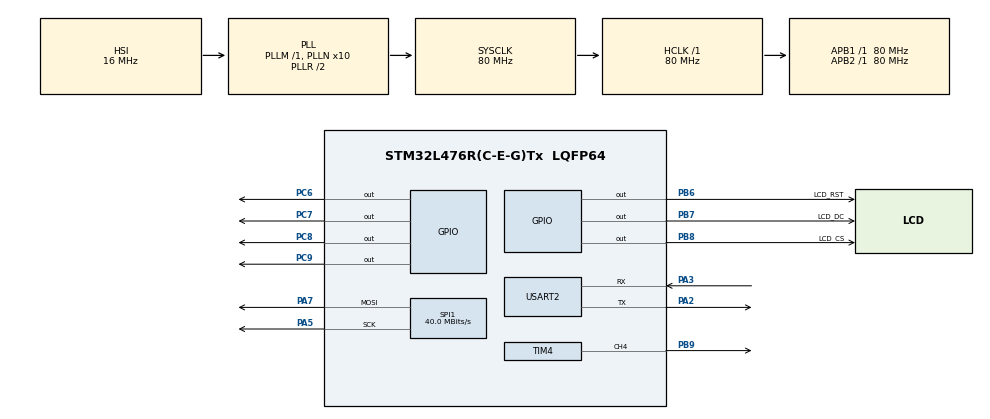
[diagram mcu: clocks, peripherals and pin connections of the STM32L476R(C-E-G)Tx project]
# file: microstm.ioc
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Mcu.Family=STM32L4
Mcu.Name=STM32L476R(C-E-G)Tx
Mcu.Package=LQFP64
NVIC.PriorityGroup=NVIC_PRIORITYGROUP_4
NVIC.USART2_IRQn=true\:0\:0\:false\:false\:true\:true\:true\:true
PA2.Mode=Asynchronous
PA2.Signal=USART2_TX
PA3.Mode=Asynchronous
PA3.Signal=USART2_RX
PA5.Mode=TX_Only_Simplex_Unidirect_Master
PA5.Signal=SPI1_SCK
PA7.Mode=TX_Only_Simplex_Unidirect_Master
PA7.Signal=SPI1_MOSI
PB6.GPIO_Label=LCD_RST
PB6.Signal=GPIO_Output
PB7.GPIO_Label=LCD_DC
PB7.Signal=GPIO_Output
PB8.GPIO_Label=LCD_CS
PB8.Signal=GPIO_Output
PB9.Signal=S_TIM4_CH4
PC6.Signal=GPIO_Output
PC7.Signal=GPIO_Output
PC8.Signal=GPIO_Output
PC9.Signal=GPIO_Output
ProjectManager.HeapSize=0x200
ProjectManager.StackSize=0x400
ProjectManager.TargetToolchain=STM32CubeIDE
RCC.ADCFreq_Value=64000000
RCC.AHBFreq_Value=80000000
RCC.APB1Freq_Value=80000000
RCC.APB1TimFreq_Value=80000000
RCC.APB2Freq_Value=80000000
RCC.APB2TimFreq_Value=80000000
RCC.CortexFreq_Value=80000000
RCC.HCLKFreq_Value=80000000
RCC.HSE_VALUE=8000000
RCC.HSI_VALUE=16000000
RCC.LSE_VALUE=32768
RCC.MSI_VALUE=4000000
RCC.PLLN=10
RCC.PLLSourceVirtual=RCC_PLLSOURCE_HSI
RCC.SYSCLKFreq_VALUE=80000000
RCC.SYSCLKSource=RCC_SYSCLKSOURCE_PLLCLK
RCC.USBFreq_Value=64000000
RCC.VCOOutputFreq_Value=160000000
SH.S_TIM4_CH4.0=TIM4_CH4,PWM Generation4 CH4
SPI1.CalculateBaudRate=40.0 MBits/s
SPI1.Direction=SPI_DIRECTION_2LINES
SPI1.Mode=SPI_MODE_MASTER
SPI1.VirtualType=VM_MASTER
TIM4.Channel-PWM\ Generation4\ CH4=TIM_CHANNEL_4
USART2.VirtualMode-Asynchronous=VM_ASYNC
board=custom

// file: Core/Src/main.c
/* USER CODE BEGIN Header */
/**
  ******************************************************************************
  * @file           : main.c
  * @brief          : Main program body
  ******************************************************************************
  * @attention
  *
  * Copyright (c) 2025 STMicroelectronics.
  * All rights reserved.
  *
  * This software is licensed under terms that can be found in the LICENSE file
  * in the root directory of this software component.
  * If no LICENSE file comes with this software, it is provided AS-IS.
  *
  ******************************************************************************
  */
/* USER CODE END Header */
//#include "main.h"

/* USER CODE BEGIN Includes */
#include "st7735.h"
#include "gfx_text.h"
#include "u8text.h"
#include "u8font_unscii16.h"
#include "u8font_unscii8.h"
#include "string.h"
#include "stdio.h"
#include "math.h"
#include "stdlib.h"
#include "main.h"
#include "filesystem.h"

/* USER CODE END Includes */

/* USER CODE BEGIN PD */
#define COLOR_RGB565(r,g,b) ( ((r&0x1F)<<11) | ((g&0x3F)<<5) | ((b&0x1F)) )
#define COLOR_BLACK 0x0000
#define COLOR_WHITE 0xFFFF
#define COLOR_RED   0xF800
#define COLOR_GREEN 0x07E0
#define COLOR_BLUE  0x001F
#define TEXT_BG_TRANSPARENT 0xFFFF
#define WHITE 0xFFFF

#define LCD_LINE_HEIGHT 9  // 7 (font height) + 2 (offset)
#define LCD_TEXT_OFFSET 2 // 2 pixel offset between lines
#define LCD_TOP_OFFSET 10 // 10 pixel offset from the top
#define LCD_MAX_LINES 12 // Assuming 5x7 font and 160 height, ~160/7 = 22 lines. Let's use 12 for now.
/* USER CODE END PD */

SPI_HandleTypeDef hspi1;

TIM_HandleTypeDef htim4;

UART_HandleTypeDef huart2;

/* USER CODE BEGIN PV */
	extern uint16_t inPointer;
	extern char inBuffer[2048];
	extern bool dataRxd;
	extern bool tabCompletion;
    extern bool char_received;

    char prompt_buffer[MAX_PATH_SIZE + 3]; // Global prompt buffer
/* USER CODE END PV */

void SystemClock_Config(void);
static void MX_GPIO_Init(void);
static void MX_USART2_UART_Init(void);
static void MX_SPI1_Init(void);
static void MX_TIM4_Init(void);
void LCD_Print(const char* text, uint16_t color);
void LCD_Print_NoInc(const char* text, uint16_t color);
void handle_serial_and_display(char* command, char* args, char* outBuffer, size_t outBufferSize);

int main(void)
{

  /* USER CODE BEGIN 1 */
    char* command = NULL;
    char* args = NULL;
    char outBuffer[2048];
  /* USER CODE END 1 */

  /* MCU Configuration--------------------------------------------------------*/

  /* Reset of all peripherals, Initializes the Flash interface and the Systick. */
  HAL_Init();

  /* Configure the system clock */
  SystemClock_Config();

  /* Initialize all configured peripherals */
  MX_GPIO_Init();
  MX_USART2_UART_Init();
  MX_SPI1_Init();
  MX_TIM4_Init();
  /* USER CODE BEGIN 2 */
  ST7735_Init(ST7735_SPI);
  ST7735_SetInversion(false);

  ST7735_SetRotation(ST7735_ROTATION_90);
  ST7735_FillScreen(COLOR_BLACK);
  HAL_TIM_PWM_Start(&htim4, TIM_CHANNEL_4);

  MX_USART2_UART_Init();
  /* USER CODE BEGIN 2 */
    filesystem_init();
	const char initMsg[] = "MicroSTM-OS initialized\r\n";
	HAL_UART_Transmit(&huart2, (uint8_t *)initMsg, (uint16_t)strlen(initMsg), 1000);

    print_prompt(); // Initial prompt

  	  USART2->CR1 |= USART_CR1_RXNEIE;
  /* USER CODE END 2 */

  /* Infinite loop */
  /* USER CODE BEGIN WHILE */
    while (1)
    {
        handle_serial_and_display(command, args, outBuffer, sizeof(outBuffer));
        if (char_received) {
            char_received = false;
            // Update the LCD with the current input buffer
            char display_buffer[MAX_PATH_SIZE + 3 + 2048];
            snprintf(display_buffer, sizeof(display_buffer), "%s%s", prompt_buffer, inBuffer);
            LCD_Print_NoInc(display_buffer, COLOR_WHITE);
        }
    /* USER CODE END WHILE */

  }
}

void SystemClock_Config(void)
{
  RCC_OscInitTypeDef RCC_OscInitStruct = {0};
  RCC_ClkInitTypeDef RCC_ClkInitStruct = {0};

  /** Configure the main internal regulator output voltage
  */
  if (HAL_PWREx_ControlVoltageScaling(PWR_REGULATOR_VOLTAGE_SCALE1) != HAL_OK)
  {
    Error_Handler();
  }

  /** Initializes the RCC Oscillators according to the specified parameters
  * in the RCC_OscInitTypeDef structure.
  */
  RCC_OscInitStruct.OscillatorType = RCC_OSCILLATORTYPE_HSI;
  RCC_OscInitStruct.HSIState = RCC_HSI_ON;
  RCC_OscInitStruct.HSICalibrationValue = RCC_HSICALIBRATION_DEFAULT;
  RCC_OscInitStruct.PLL.PLLState = RCC_PLL_ON;
  RCC_OscInitStruct.PLL.PLLSource = RCC_PLLSOURCE_HSI;
  RCC_OscInitStruct.PLL.PLLM = 1;
  RCC_OscInitStruct.PLL.PLLN = 10;
  RCC_OscInitStruct.PLL.PLLP = RCC_PLLP_DIV7;
  RCC_OscInitStruct.PLL.PLLQ = RCC_PLLQ_DIV2;
  RCC_OscInitStruct.PLL.PLLR = RCC_PLLR_DIV2;
  if (HAL_RCC_OscConfig(&RCC_OscInitStruct) != HAL_OK)
  {
    Error_Handler();
  }

  /** Initializes the CPU, AHB and APB buses clocks
  */
  RCC_ClkInitStruct.ClockType = RCC_CLOCKTYPE_HCLK|RCC_CLOCKTYPE_SYSCLK
                              |RCC_CLOCKTYPE_PCLK1|RCC_CLOCKTYPE_PCLK2;
  RCC_ClkInitStruct.SYSCLKSource = RCC_SYSCLKSOURCE_PLLCLK;
  RCC_ClkInitStruct.AHBCLKDivider = RCC_SYSCLK_DIV1;
  RCC_ClkInitStruct.APB1CLKDivider = RCC_HCLK_DIV1;
  RCC_ClkInitStruct.APB2CLKDivider = RCC_HCLK_DIV1;

  if (HAL_RCC_ClockConfig(&RCC_ClkInitStruct, FLASH_LATENCY_4) != HAL_OK)
  {
    Error_Handler();
  }
}

static void MX_SPI1_Init(void)
{

  /* SPI1 parameter configuration*/
  hspi1.Instance = SPI1;
  hspi1.Init.Mode = SPI_MODE_MASTER;
  hspi1.Init.Direction = SPI_DIRECTION_2LINES;
  hspi1.Init.DataSize = SPI_DATASIZE_4BIT;
  hspi1.Init.CLKPolarity = SPI_POLARITY_LOW;
  hspi1.Init.CLKPhase = SPI_PHASE_1EDGE;
  hspi1.Init.NSS = SPI_NSS_SOFT;
  hspi1.Init.BaudRatePrescaler = SPI_BAUDRATEPRESCALER_2;
  hspi1.Init.FirstBit = SPI_FIRSTBIT_MSB;
  hspi1.Init.TIMode = SPI_TIMODE_DISABLE;
  hspi1.Init.CRCCalculation = SPI_CRCCALCULATION_DISABLE;
  hspi1.Init.CRCPolynomial = 7;
  hspi1.Init.CRCLength = SPI_CRC_LENGTH_DATASIZE;
  hspi1.Init.NSSPMode = SPI_NSS_PULSE_ENABLE;
  if (HAL_SPI_Init(&hspi1) != HAL_OK)
  {
    Error_Handler();
  }

}

static void MX_TIM4_Init(void)
{

  TIM_MasterConfigTypeDef sMasterConfig = {0};
  TIM_OC_InitTypeDef sConfigOC = {0};

  htim4.Instance = TIM4;
  htim4.Init.Prescaler = 0;
  htim4.Init.CounterMode = TIM_COUNTERMODE_UP;
  htim4.Init.Period = 65535;
  htim4.Init.ClockDivision = TIM_CLOCKDIVISION_DIV1;
  htim4.Init.AutoReloadPreload = TIM_AUTORELOAD_PRELOAD_DISABLE;
  if (HAL_TIM_PWM_Init(&htim4) != HAL_OK)
  {
    Error_Handler();
  }
  sMasterConfig.MasterOutputTrigger = TIM_TRGO_RESET;
  sMasterConfig.MasterSlaveMode = TIM_MASTERSLAVEMODE_DISABLE;
  if (HAL_TIMEx_MasterConfigSynchronization(&htim4, &sMasterConfig) != HAL_OK)
  {
    Error_Handler();
  }
  sConfigOC.OCMode = TIM_OCMODE_PWM1;
  sConfigOC.Pulse = 0;
  sConfigOC.OCPolarity = TIM_OCPOLARITY_HIGH;
  sConfigOC.OCFastMode = TIM_OCFAST_DISABLE;
  if (HAL_TIM_PWM_ConfigChannel(&htim4, &sConfigOC, TIM_CHANNEL_4) != HAL_OK)
  {
    Error_Handler();
  }
  HAL_TIM_MspPostInit(&htim4);

}

static void MX_USART2_UART_Init(void)
{

  huart2.Instance = USART2;
  huart2.Init.BaudRate = 115200;
  huart2.Init.WordLength = UART_WORDLENGTH_8B;
  huart2.Init.StopBits = UART_STOPBITS_1;
  huart2.Init.Parity = UART_PARITY_NONE;
  huart2.Init.Mode = UART_MODE_TX_RX;
  huart2.Init.HwFlowCtl = UART_HWCONTROL_NONE;
  huart2.Init.OverSampling = UART_OVERSAMPLING_16;
  huart2.Init.OneBitSampling = UART_ONE_BIT_SAMPLE_DISABLE;
  huart2.AdvancedInit.AdvFeatureInit = UART_ADVFEATURE_NO_INIT;
  if (HAL_UART_Init(&huart2) != HAL_OK)
  {
    Error_Handler();
  }

}

static void MX_GPIO_Init(void)
{
  GPIO_InitTypeDef GPIO_InitStruct = {0};

  /* GPIO Ports Clock Enable */
  __HAL_RCC_GPIOA_CLK_ENABLE();
  __HAL_RCC_GPIOC_CLK_ENABLE();
  __HAL_RCC_GPIOB_CLK_ENABLE();

  /*Configure GPIO pin Output Level */
  HAL_GPIO_WritePin(GPIOC, GPIO_PIN_6|GPIO_PIN_7|GPIO_PIN_8|GPIO_PIN_9, GPIO_PIN_RESET);

  /*Configure GPIO pin Output Level */
  HAL_GPIO_WritePin(GPIOB, LCD_RST_Pin|LCD_DC_Pin|LCD_CS_Pin, GPIO_PIN_RESET);

  /*Configure GPIO pins : PC6 PC7 PC8 PC9 */
  GPIO_InitStruct.Pin = GPIO_PIN_6|GPIO_PIN_7|GPIO_PIN_8|GPIO_PIN_9;
  GPIO_InitStruct.Mode = GPIO_MODE_OUTPUT_PP;
  GPIO_InitStruct.Pull = GPIO_NOPULL;
  GPIO_InitStruct.Speed = GPIO_SPEED_FREQ_LOW;
  HAL_GPIO_Init(GPIOC, &GPIO_InitStruct);

  /*Configure GPIO pins : LCD_RST_Pin LCD_DC_Pin LCD_CS_Pin */
  GPIO_InitStruct.Pin = LCD_RST_Pin|LCD_DC_Pin|LCD_CS_Pin;
  GPIO_InitStruct.Mode = GPIO_MODE_OUTPUT_PP;
  GPIO_InitStruct.Pull = GPIO_NOPULL;
  GPIO_InitStruct.Speed = GPIO_SPEED_FREQ_LOW;
  HAL_GPIO_Init(GPIOB, &GPIO_InitStruct);

}

/* USER CODE BEGIN 4 */
// Global variable to keep track of the current line on the LCD
static uint8_t lcd_current_line = 0;

void LCD_Print_NoInc(const char* text, uint16_t color) {
    // Clear the current line before drawing new text
    ST7735_FillRect(0, LCD_TOP_OFFSET + lcd_current_line * LCD_LINE_HEIGHT, ST7735_Width(), LCD_LINE_HEIGHT, COLOR_BLACK);
    GFX_DrawString(4, LCD_TOP_OFFSET + lcd_current_line * LCD_LINE_HEIGHT, (char*)text, color, COLOR_BLACK, 1, &Font5x7);
}

void LCD_Print(const char* text, uint16_t color) {
    LCD_Print_NoInc(text, color);
    lcd_current_line++;
    if (lcd_current_line >= LCD_MAX_LINES) {
        lcd_current_line = 0; // Wrap around or scroll up
        // For simplicity, just wrap around. A more advanced implementation would scroll.
        ST7735_FillRect(0, LCD_TOP_OFFSET, ST7735_Width(), ST7735_Height() - LCD_TOP_OFFSET, COLOR_BLACK); // Clear relevant part of screen on wrap around for now
    }
}

void print_prompt(void) {
    fs_get_cwd_path(prompt_buffer, MAX_PATH_SIZE);
    strcat(prompt_buffer, "> ");
    HAL_UART_Transmit(&huart2, (uint8_t*)prompt_buffer, (uint16_t)strlen(prompt_buffer), 1000);
    // Also display prompt on LCD
    LCD_Print_NoInc(prompt_buffer, COLOR_WHITE);
}

void unified_output(const char* text, uint16_t color) {
    HAL_UART_Transmit(&huart2, (uint8_t*)text, (uint16_t)strlen(text), 1000);

    // Now for the LCD, we need to handle multi-line text
    char line_buffer[128]; // Assuming max line length for LCD is less than 128
    const char* p_start = text;
    const char* p_end;

    while((p_end = strpbrk(p_start, "\r\n")) != NULL) {
        size_t len = p_end - p_start;
        if (len > 0) {
            if (len >= sizeof(line_buffer)) {
                len = sizeof(line_buffer) - 1;
            }
            strncpy(line_buffer, p_start, len);
            line_buffer[len] = '\0';
            LCD_Print(line_buffer, color);
        }

        if (*p_end == '\r' && *(p_end + 1) == '\n') {
            p_start = p_end + 2;
        } else {
            p_start = p_end + 1;
        }
    }

    // Print the rest of the string if it doesn't end with a newline
    if (*p_start != '\0') {
        strncpy(line_buffer, p_start, sizeof(line_buffer) - 1);
        line_buffer[sizeof(line_buffer) - 1] = '\0';
        LCD_Print(line_buffer, color);
    }
}
void handle_serial_and_display(char* command, char* args, char* outBuffer, size_t outBufferSize) {
    if (dataRxd == true){
        dataRxd = false;

        // Finalize the command line on the LCD before execution
        char full_command_line[MAX_PATH_SIZE + 3 + 2048];
        snprintf(full_command_line, sizeof(full_command_line), "%s%s", prompt_buffer, inBuffer);
        LCD_Print(full_command_line, COLOR_WHITE);

        parse_command(inBuffer, &command, &args);

        if (command != NULL && strlen(command) > 0) {
            // Debug print to serial
            snprintf(outBuffer, outBufferSize, "Command: '%s', Args: '%s'\r\n", command, args ? args : "");
			unified_output(outBuffer, COLOR_WHITE);

            if (strcmp(command, "BLUE") == 0) {
                if (args != NULL && strcmp(args, "ON") == 0) {
                    GPIOC->ODR |= (1 << 6);
                    unified_output("BLUE ON\r\n", COLOR_GREEN);
                } else if (args != NULL && strcmp(args, "OFF") == 0) {
                    GPIOC->ODR &= ~(1 << 6);
                    unified_output("BLUE OFF\r\n", COLOR_RED);
                }
            } else if (strcmp(command, "RED") == 0) {
                if (args != NULL && strcmp(args, "ON") == 0) {
                    GPIOC->ODR |= (1 << 7);
                    unified_output("RED ON\r\n", COLOR_GREEN);
                } else if (args != NULL && strcmp(args, "OFF") == 0) {
                    GPIOC->ODR &= ~(1 << 7);
                    unified_output("RED OFF\r\n", COLOR_RED);
                }
            } else if (strcmp(command, "GREEN") == 0) {
                if (args != NULL && strcmp(args, "ON") == 0) {
                    GPIOC->ODR |= (1 << 8);
                    unified_output("GREEN ON\r\n", COLOR_GREEN);
                } else if (args != NULL && strcmp(args, "OFF") == 0) {
                    GPIOC->ODR &= ~(1 << 8);
                    unified_output("GREEN OFF\r\n", COLOR_RED);
                }
            } else if (strcmp(command, "WHITE") == 0) {
                if (args != NULL && strcmp(args, "ON") == 0) {
                    GPIOC->ODR |= (1 << 9);
                    unified_output("WHITE ON\r\n", COLOR_GREEN);
                } else if (args != NULL && strcmp(args, "OFF") == 0) {
                    GPIOC->ODR &= ~(1 << 9);
                    unified_output("WHITE OFF\r\n", COLOR_RED);
                }
            } else if (strcmp(command, "help") == 0) {
                const char helpMsg[] =
                    "Available commands:\r\n"
                    "  help                - Show this message\r\n"
                    "  echo                - Print back the arguments\r\n"
                    "  ls, pwd, cd         - File navigation\r\n"
                    "  mkdir, rmdir        - Create/remove directories\r\n"
                    "  rm, cp, mv          - Manage files\r\n"
                    "  touch, find         - Create/search files\r\n"
                    "  cat, head, tail     - View file contents\r\n"
                    "  BLUE ON / BLUE OFF  - Control onboard BLUE LED\r\n"
                    "  RED ON / RED OFF    - Control onboard RED LED\r\n"
                    "  GREEN ON / GREEN OFF- Control onboard GREEN LED\r\n"
                    "  WHITE ON / WHITE OFF- Control onboard WHITE LED\r\n"
                    "  exit                - Close the connection\r\n";
                unified_output(helpMsg, COLOR_WHITE);
            } else if (strcmp(command, "echo") == 0) {
                if (args != NULL) {
                    snprintf(outBuffer, outBufferSize, "%s\r\n", args);
                    unified_output(outBuffer, COLOR_WHITE);
                }
            } else if (strcmp(command, "pwd") == 0) {
                fs_pwd(outBuffer, outBufferSize);
                unified_output(outBuffer, COLOR_WHITE);
            } else if (strcmp(command, "ls") == 0) {
                fs_ls(outBuffer, outBufferSize);
                unified_output(outBuffer, COLOR_WHITE);
            } else if (strcmp(command, "mkdir") == 0) {
                if (fs_mkdir(args) != 0) {
                    const char errMsg[] = "mkdir failed\r\n";
                    unified_output(errMsg, COLOR_RED);
                } else {
                    snprintf(outBuffer, outBufferSize, "mkdir %s success\r\n", args);
                    unified_output(outBuffer, COLOR_GREEN);
                }
            } else if (strcmp(command, "cd") == 0) {
                if (fs_cd(args) != 0) {
                    const char errMsg[] = "cd failed\r\n";
                    unified_output(errMsg, COLOR_RED);
                } else {
                    snprintf(outBuffer, outBufferSize, "cd %s success\r\n", args);
                    unified_output(outBuffer, COLOR_GREEN);
                }
            } else if (strcmp(command, "rmdir") == 0) {
                if (fs_rmdir(args) != 0) {
                    const char errMsg[] = "rmdir failed\r\n";
                    unified_output(errMsg, COLOR_RED);
                } else {
                    snprintf(outBuffer, outBufferSize, "rmdir %s success\r\n", args);
                    unified_output(outBuffer, COLOR_GREEN);
                }
            } else if (strcmp(command, "clear") == 0) {
                const char clearScreen[] = "\033[2J\033[H";
                HAL_UART_Transmit(&huart2, (uint8_t*)clearScreen, strlen(clearScreen), 1000);
                ST7735_FillScreen(COLOR_BLACK);
                lcd_current_line = 0;
                unified_output("LCD Cleared\r\n", COLOR_WHITE);
            } else if (strcmp(command, "touch") == 0) {
                if (fs_touch(args) != 0) {
                    const char errMsg[] = "touch failed\r\n";
                    unified_output(errMsg, COLOR_RED);
                } else {
                    snprintf(outBuffer, outBufferSize, "touch %s success\r\n", args);
                    unified_output(outBuffer, COLOR_GREEN);
                }
            } else if (strcmp(command, "cat") == 0) {
                if (fs_cat(args) != 0) {
                    const char errMsg[] = "cat failed\r\n";
                    unified_output(errMsg, COLOR_RED);
                } else {
                    snprintf(outBuffer, outBufferSize, "cat %s executed. Output on serial.\r\n", args);
                    unified_output(outBuffer, COLOR_WHITE);
                }
            } else if (strcmp(command, "rm") == 0) {
                if (fs_rm(args) != 0) {
                    const char errMsg[] = "rm failed\r\n";
                    unified_output(errMsg, COLOR_RED);
                } else {
                    snprintf(outBuffer, outBufferSize, "rm %s success\r\n", args);
                    unified_output(outBuffer, COLOR_GREEN);
                }
            } else if (strcmp(command, "exit") == 0) {
                const char exitMsg[] = "Goodbye!\r\n";
                unified_output(exitMsg, COLOR_WHITE);
                HAL_UART_DeInit(&huart2);
                while(1);
            } else {
                snprintf(outBuffer, outBufferSize, "Unknown command: %s\r\n", command);
                unified_output(outBuffer, COLOR_RED);
            }
        }

        // Clear the input buffer for the next command
        memset(inBuffer, 0, sizeof(inBuffer));

        print_prompt();
    }

    if (tabCompletion == true) {
        tabCompletion = false;
        char completion_buffer[MAX_FILENAME_SIZE];

        // Find the start of the current word to autocomplete
        int current_word_start = inPointer;
        while (current_word_start > 0 && inBuffer[current_word_start - 1] != ' ') {
            current_word_start--;
        }

        int partial_len = inPointer - current_word_start;

        if (partial_len > 0) {
            int completed_len = fs_autocomplete(inBuffer + current_word_start, partial_len, completion_buffer);
            if (completed_len > 0) {
                HAL_UART_Transmit(&huart2, (uint8_t*)completion_buffer, completed_len, 1000);
                strncpy(inBuffer + inPointer, completion_buffer, completed_len);
                inPointer += completed_len;
                inBuffer[inPointer] = 0;
            }
        }
    }
}/* USER CODE END 4 */

void Error_Handler(void)
{
  __disable_irq();
  while (1)
  {
  }
}
